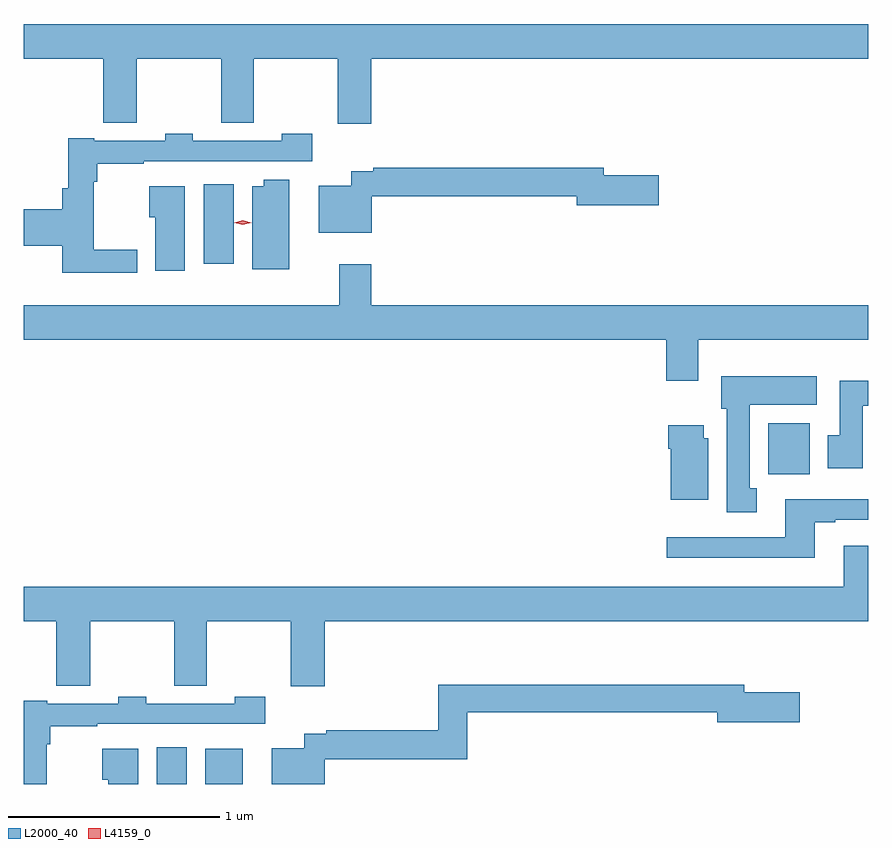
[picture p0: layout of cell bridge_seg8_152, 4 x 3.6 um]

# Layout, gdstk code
import gdstk
lib = gdstk.Library(unit=1e-6, precision=1e-09)
def R(c, l, rs):  # rectangles x0, y0, x1, y1
    for r in rs: c.add(gdstk.rectangle(r[:2], r[2:], *l))
def P(c, l, *ps):  # polygons
    for p in ps: c.add(gdstk.Polygon(p, *l))
L2000_40 = (2000, 40)
L4159_0 = (4159, 0)

bridge_seg8_152 = lib.new_cell('bridge_seg8_152')
R(bridge_seg8_152, L2000_40, [(507.677,1126.386,507.82,1126.561), (507.908,1126.386,508.084,1126.552), (510.572,1127.852,510.769,1128.094), (507.899,1128.849,508.042,1129.225)])
P(bridge_seg8_152, L2000_40, [(508.694,1129.82),(511.047,1129.82),(511.047,1129.984),(507.047,1129.984),(507.047,1129.82),(507.425,1129.82),(507.425,1129.516),(507.584,1129.516),(507.584,1129.82),(507.982,1129.82),(507.982,1129.516),(508.136,1129.516),(508.136,1129.82),(508.534,1129.82),(508.534,1129.512),(508.694,1129.512)],
  [(507.586,1128.916),(507.38,1128.916),(507.38,1129.238),(507.395,1129.238),(507.395,1129.323),(507.617,1129.323),(507.617,1129.335),(508.414,1129.335),(508.414,1129.464),(508.269,1129.464),(508.269,1129.431),(507.849,1129.431),(507.849,1129.464),(507.717,1129.464),(507.717,1129.431),(507.382,1129.431),(507.382,1129.444),(507.259,1129.444),(507.259,1129.207),(507.23,1129.207),(507.23,1129.106),(507.047,1129.106),(507.047,1128.935),(507.23,1128.935),(507.23,1128.806),(507.586,1128.806)],
  [(508.695,1129.168),(509.666,1129.168),(509.666,1129.126),(510.055,1129.126),(510.055,1129.268),(509.794,1129.268),(509.794,1129.304),(508.702,1129.304),(508.702,1129.287),(508.599,1129.287),(508.599,1129.219),(508.445,1129.219),(508.445,1128.995),(508.695,1128.995)],
  [(508.306,1129.246),(508.184,1129.246),(508.184,1129.216),(508.13,1129.216),(508.13,1128.824),(508.306,1128.824)],
  [(507.811,1129.216),(507.641,1129.216),(507.641,1129.069),(507.671,1129.069),(507.671,1128.816),(507.811,1128.816)],
  [(510.241,1128.488),(511.047,1128.488),(511.047,1128.652),(508.694,1128.652),(508.694,1128.847),(508.541,1128.847),(508.541,1128.652),(507.047,1128.652),(507.047,1128.488),(510.089,1128.488),(510.089,1128.294),(510.241,1128.294)],
  [(510.517,1127.786),(510.484,1127.786),(510.484,1128.182),(510.802,1128.182),(510.802,1128.316),(510.35,1128.316),(510.35,1128.162),(510.377,1128.162),(510.377,1127.673),(510.517,1127.673)],
  [(511.021,1128.176),(511.047,1128.176),(511.047,1128.295),(510.911,1128.295),(510.911,1128.036),(510.854,1128.036),(510.854,1127.88),(511.021,1127.88)],
  [(510.289,1128.024),(510.268,1128.024),(510.268,1128.085),(510.098,1128.085),(510.098,1127.972),(510.11,1127.972),(510.11,1127.732),(510.289,1127.732)],
  [(510.793,1127.625),(510.889,1127.625),(510.889,1127.637),(511.047,1127.637),(511.047,1127.734),(510.653,1127.734),(510.653,1127.553),(510.093,1127.553),(510.093,1127.456),(510.793,1127.456)],
  [(508.472,1127.156),(511.047,1127.156),(511.047,1127.515),(510.929,1127.515),(510.929,1127.32),(507.047,1127.32),(507.047,1127.156),(507.203,1127.156),(507.203,1126.852),(507.362,1126.852),(507.362,1127.156),(507.76,1127.156),(507.76,1126.852),(507.914,1126.852),(507.914,1127.156),(508.312,1127.156),(508.312,1126.848),(508.472,1126.848)],
  [(508.473,1126.504),(509.147,1126.504),(509.147,1126.726),(510.332,1126.726),(510.332,1126.679),(510.721,1126.679),(510.721,1126.821),(510.46,1126.821),(510.46,1126.855),(509.011,1126.855),(509.011,1126.64),(508.48,1126.64),(508.48,1126.623),(508.377,1126.623),(508.377,1126.555),(508.223,1126.555),(508.223,1126.386),(508.473,1126.386)],
  [(507.158,1126.574),(507.173,1126.574),(507.173,1126.659),(507.395,1126.659),(507.395,1126.671),(508.192,1126.671),(508.192,1126.8),(508.047,1126.8),(508.047,1126.767),(507.627,1126.767),(507.627,1126.8),(507.495,1126.8),(507.495,1126.767),(507.16,1126.767),(507.16,1126.78),(507.047,1126.78),(507.047,1126.386),(507.158,1126.386)],
  [(507.589,1126.552),(507.419,1126.552),(507.419,1126.405),(507.449,1126.405),(507.449,1126.386),(507.589,1126.386)])
P(bridge_seg8_152, L4159_0, [(508.085,1129.034),(508.045,1129.044),(508.045,1129.044),(508.045,1129.044),(508.085,1129.054),(508.126,1129.044),(508.126,1129.044),(508.126,1129.044)])

lib.write_gds('bridge_seg8_152.gds')
